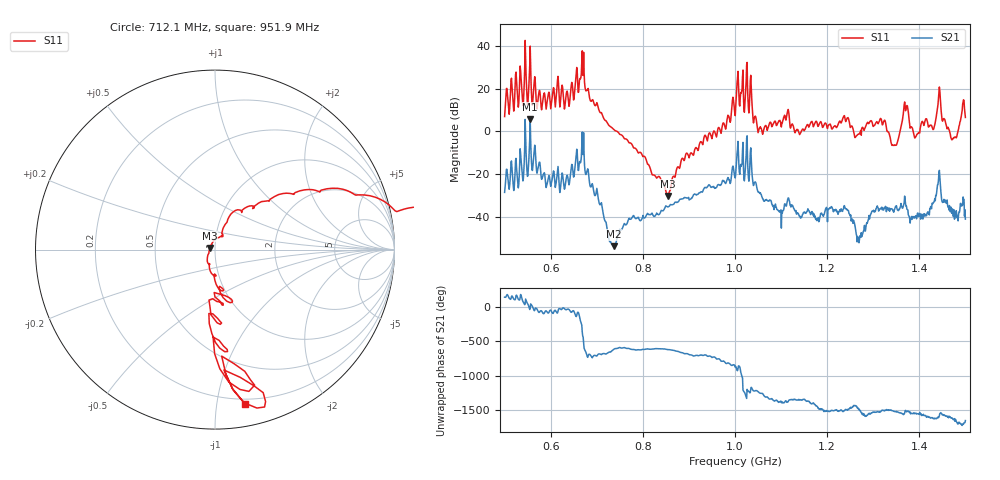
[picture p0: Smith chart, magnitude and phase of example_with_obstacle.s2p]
# HZ S RI R 50
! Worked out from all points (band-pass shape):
!   1010 points, 500 MHz to 1.5 GHz, reference 50 ohm
!   highest |S21| = 5.82 dB at 555.5 MHz (marker M1); lowest = -53.7 dB at 736.9 MHz (marker M2)
!   |S21| within 3 dB of the highest: 544.3878 MHz to 544.9288 MHz (541 kHz wide, 0.0993 % of centre); 555.1905 MHz to 555.8153 MHz (624.9 kHz wide, 0.112 % of centre)
!   lowest |S11| = -30.3 dB at 853.8 MHz (marker M3), VSWR 1.06, Z = 47.1 + j0.806 ohm
!   |S11| at or under -10 dB: 789.794 MHz to 791.5437 MHz (1.75 MHz wide, 0.221 % of centre); 795.6 MHz to 911.2 MHz (115.6 MHz wide, 13.5 % of centre)
!   S12 and S22 are empty: the file has one direction only
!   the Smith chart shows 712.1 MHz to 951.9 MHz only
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5e8  0.1324 -2.21  -0.0308 0.021  0 0  0 0
5.3667e8  10.16 -8.255  -0.146 0.0832  0 0  0 0
5.426164e8  -7.743 -10.41  0.1244 0.1484  0 0  0 0
5.555005e8  -94.04 -27.68  1.871 -0.5621  0 0  0 0
5.723488e8  -4.726 -2.558  0.0746 -0.1146  0 0  0 0
6.308226e8  -2.082 -3.202  0.0422 -0.0219  0 0  0 0
6.575817e8  -23.3 -8.187  0.0168 -0.3231  0 0  0 0
6.635282e8  -8.111 15.1  -0.1964 -0.0243  0 0  0 0
6.674925e8  30.79 23.34  -0.0727 0.4457  0 0  0 0
6.73439e8  8.88 10.82  -0.0418 0.1533  0 0  0 0
6.744301e8  8.485 6.677  -0.00282 0.1213  0 0  0 0
6.774033e8  8.876 0.3219  0.073 0.0732  0 0  0 0
7.368681e8  1.079 0.2317  -0.00057 0.00198  0 0  0 0
8.33994e8  0.0444 0.0759  -0.00456 0.0102  0 0  0 0
8.538156e8  -0.0295 0.00855  -0.00354 0.0167  0 0  0 0
1.000495e9  -2.123 -0.9315  -0.0729 -0.0351  0 0  0 0
1.020317e9  -2.269 -1.622  -0.0644 -0.0259  0 0  0 0
1.031219e9  -3.378 -2.362  -0.0896 -0.0315  0 0  0 0
1.054014e9  -1.146 -0.3642  -0.0348 -0.00489  0 0  0 0
1.166997e9  -1.606 0.5588  0.0112 0.00715  0 0  0 0
1.333498e9  -0.7101 -0.6197  0.00628 -0.0134  0 0  0 0
1.5e9  -1.322 -1.643  -0.0074 0.00482  0 0  0 0
